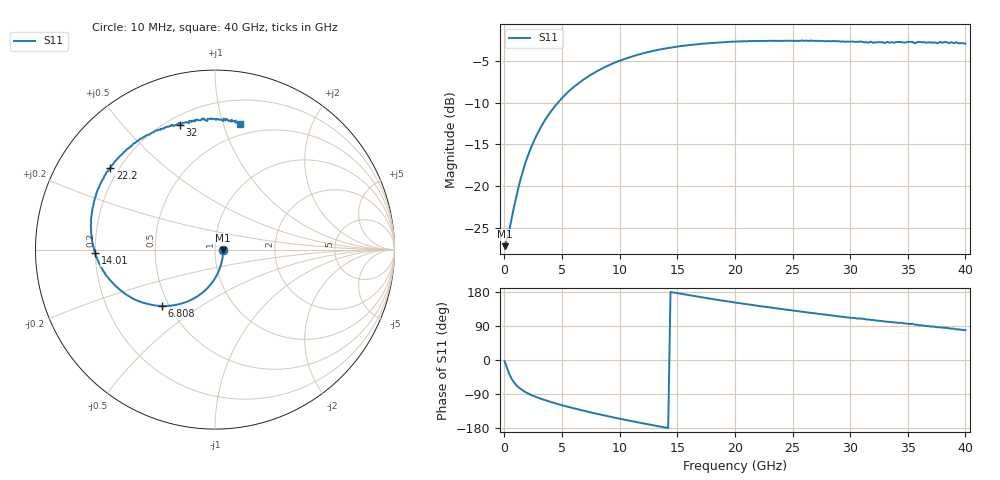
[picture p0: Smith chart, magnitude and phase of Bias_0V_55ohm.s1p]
!Agilent Technologies,N5227A,US51270434,A.10.00.00
!Agilent N5227A: A.10.00.00
!Date: Monday, March 30, 2026 11:24:22
!Correction: S11(Full 1 Port(1))
!S1P File: Measurement: S11:
# Hz S  dB  R 50
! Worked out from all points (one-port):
!   201 points, 10 MHz to 40 GHz, reference 50 ohm
!   lowest |S11| = -27.2 dB at 10 MHz (marker M1), VSWR 1.09, Z = 54.6 - j0.268 ohm
!   |S11| at or under -10 dB: start of sweep to 4.642 GHz
!   S11 on the Smith chart (normalised r, x): 10 MHz: 1.09, -0.01; 6.808 GHz: 0.46, -0.35; 14.01 GHz: 0.20, -0.01; 22.2 GHz: 0.17, +0.34; 32 GHz: 0.25, +0.73; 40 GHz: 0.40, +1.14
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1e7  -27.21 -3.2
4.099e8  -25.33 -36.5
8.098e8  -22.59 -58.6
1.40965e9  -19.10 -76.6
2.20945e9  -15.71 -90.8
3.40915e9  -12.33 -104.9
5.00875e9  -9.42 -119.5
6.8083e9  -7.28 -133.5
8.20795e9  -6.09 -143.2
1.00075e10  -4.97 -155.0
1.2007e10  -4.08 -167.0
1.40065e10  -3.51 -178.5
1.500625e10  -3.27 176.2
1.700575e10  -2.95 165.9
2.0005e10  -2.69 151.9
2.220445e10  -2.61 141.9
2.500375e10  -2.59 130.6
2.72032e10  -2.59 121.8
3.00025e10  -2.69 111.6
3.180205e10  -2.69 105.8
3.2002e10  -2.84 105.7
3.500125e10  -2.70 95.6
3.540115e10  -2.71 95.5
3.56011e10  -2.88 93.4
3.6001e10  -2.73 91.6
3.76006e10  -2.88 86.4
3.820045e10  -2.71 85.1
4e10  -2.93 78.6
